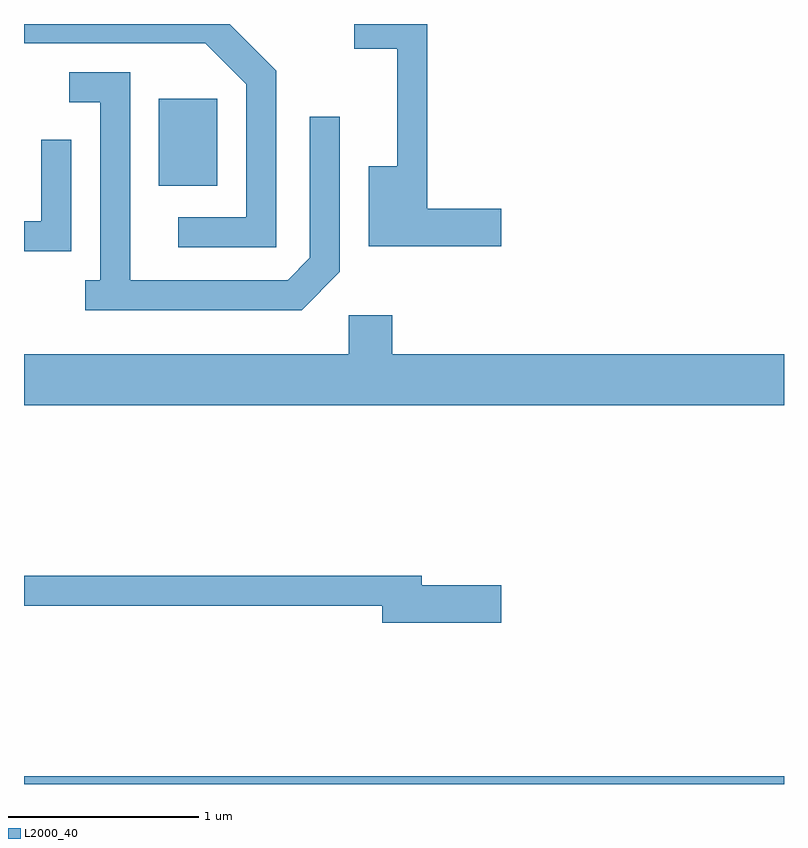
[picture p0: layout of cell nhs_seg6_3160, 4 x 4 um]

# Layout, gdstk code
import gdstk
lib = gdstk.Library(unit=1e-6, precision=1e-09)
def R(c, l, rs):  # rectangles x0, y0, x1, y1
    for r in rs: c.add(gdstk.rectangle(r[:2], r[2:], *l))
def P(c, l, *ps):  # polygons
    for p in ps: c.add(gdstk.Polygon(p, *l))
L2000_40 = (2000, 40)

nhs_seg6_3160 = lib.new_cell('nhs_seg6_3160')
R(nhs_seg6_3160, L2000_40, [(279.611,1650.162,283.611,1650.204), (280.321,1653.311,280.629,1653.769)])
P(nhs_seg6_3160, L2000_40, [(280.939,1653.917),(280.694,1654.162),(279.611,1654.162),(279.611,1654.061),(280.564,1654.061),(280.781,1653.844),(280.781,1653.144),(280.423,1653.144),(280.423,1652.986),(280.939,1652.986)],
  [(282.124,1653.189),(281.734,1653.189),(281.734,1654.162),(281.348,1654.162),(281.348,1654.031),(281.576,1654.031),(281.576,1653.414),(281.426,1653.414),(281.426,1652.991),(282.124,1652.991)],
  [(281.274,1652.859),(281.274,1653.673),(281.116,1653.673),(281.116,1652.932),(280.999,1652.814),(280.169,1652.814),(280.169,1653.909),(279.848,1653.909),(279.848,1653.751),(280.011,1653.751),(280.011,1652.814),(279.933,1652.814),(279.933,1652.656),(281.072,1652.656)],
  [(279.859,1653.553),(279.701,1653.553),(279.701,1653.124),(279.611,1653.124),(279.611,1652.966),(279.859,1652.966)],
  [(283.611,1652.424),(281.549,1652.424),(281.549,1652.629),(281.321,1652.629),(281.321,1652.424),(279.611,1652.424),(279.611,1652.156),(283.611,1652.156)],
  [(282.124,1651.209),(281.704,1651.209),(281.704,1651.259),(279.611,1651.259),(279.611,1651.101),(281.496,1651.101),(281.496,1651.011),(282.124,1651.011)])

lib.write_gds('nhs_seg6_3160.gds')
